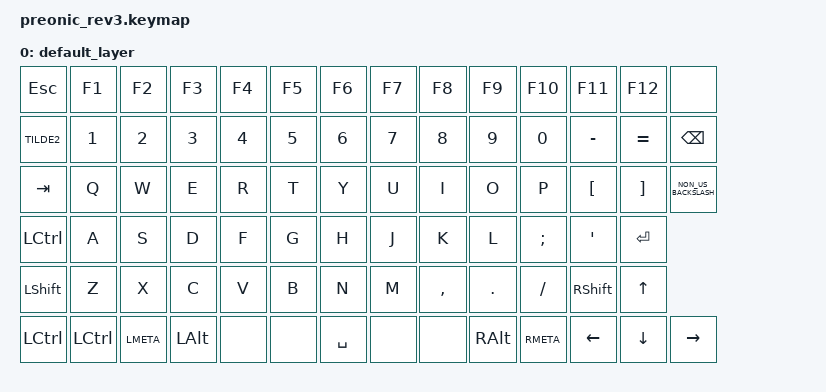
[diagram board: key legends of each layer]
/*
 * Copyright (c) 2022 The ZMK Contributors
 *
 * SPDX-License-Identifier: MIT
 */

#include <behaviors.dtsi>
#include <dt-bindings/zmk/keys.h>
#include <dt-bindings/zmk/bt.h>

#define DEFAULT 0
#define LOWER   1
#define RAISE   2

/ {
    chosen { zmk,matrix-transform = &layout_grid_transform; };
    keymap {
        compatible = "zmk,keymap";
        default_layer {
            bindings = <
                &kp ESC     &kp F1     &kp F2     &kp F3    &kp F4     &kp F5     &kp F6     &kp F7     &kp F8     &kp F9    &kp F10    &kp F11     &kp F12    &none
                &kp TILDE2  &kp N1     &kp N2     &kp N3    &kp N4     &kp N5     &kp N6     &kp N7     &kp N8     &kp N9    &kp N0     &kp MINUS   &kp EQUAL  &kp BSPC
                &kp TAB     &kp Q      &kp W      &kp E     &kp R      &kp T      &kp Y      &kp U      &kp I      &kp O     &kp P      &kp LBKT    &kp RBKT   &kp NON_US_BACKSLASH
                &kp LCTRL   &kp A      &kp S      &kp D     &kp F      &kp G      &kp H      &kp J      &kp K      &kp L     &kp SEMI   &kp SQT     &kp RET
                &kp LSHIFT  &kp Z      &kp X      &kp C     &kp V      &kp B      &kp N      &kp M      &kp COMMA  &kp DOT   &kp SLASH  &kp RSHIFT  &kp UP
                &kp LCTRL   &kp LCTRL  &kp LMETA  &kp LALT  &none      &none      &kp SPACE  &none      &none      &kp RALT   &kp RMETA  &kp LEFT   &kp DOWN   &kp RIGHT
                >;
        };
    };
};
